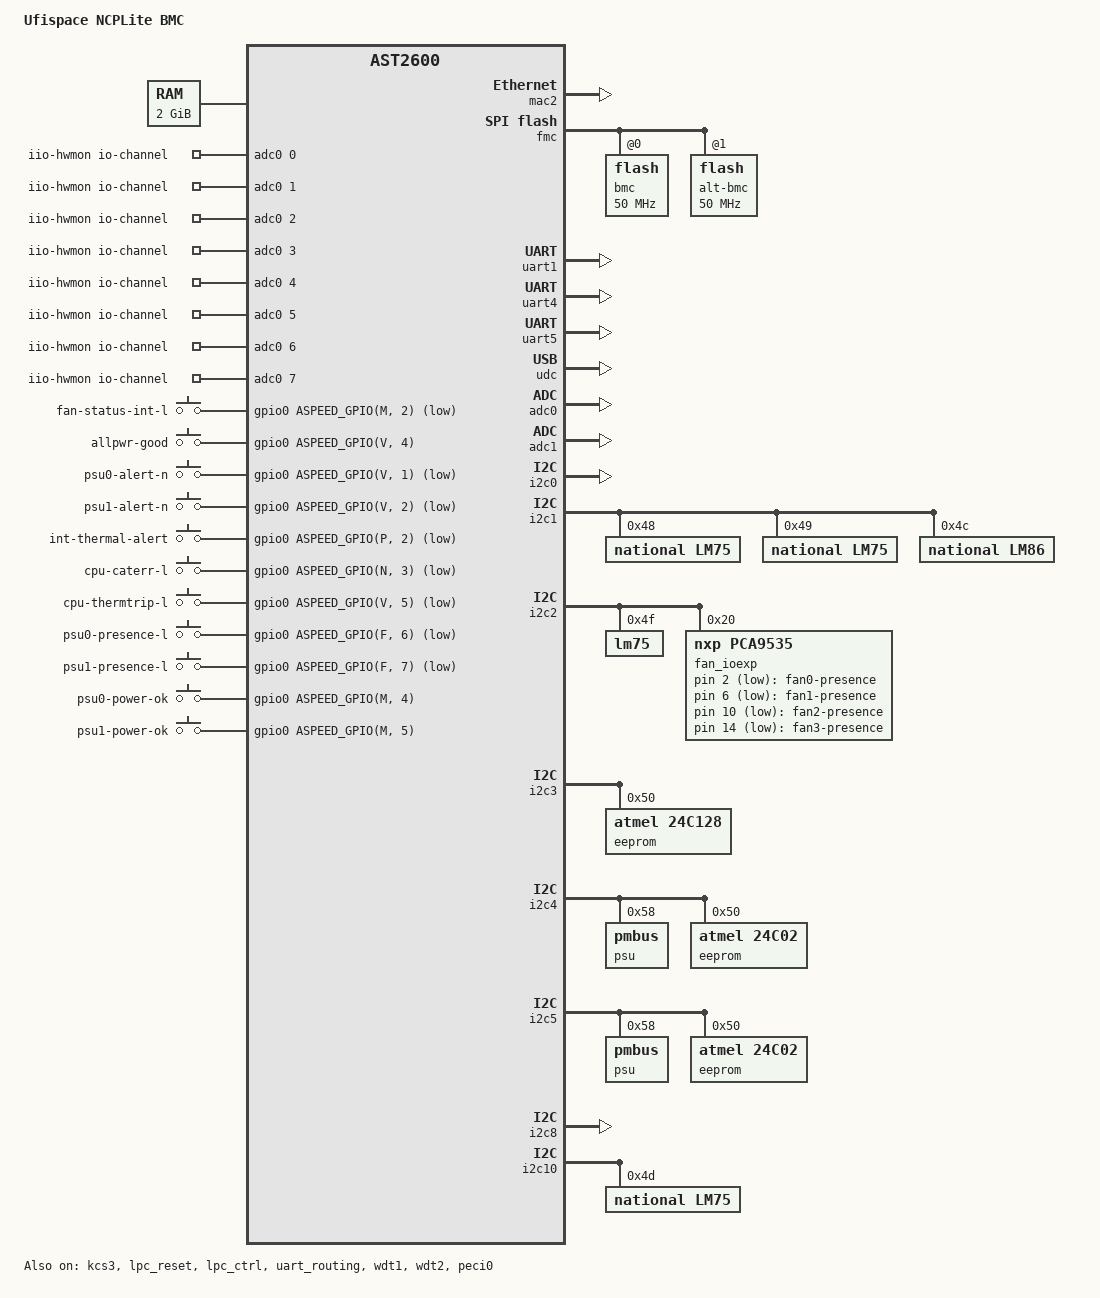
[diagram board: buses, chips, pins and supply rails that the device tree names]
// SPDX-License-Identifier: GPL-2.0-or-later
// Copyright (c) 2022 Ufispace Co., Ltd.
/dts-v1/;

#include "aspeed-g6.dtsi"
#include <dt-bindings/i2c/i2c.h>
#include <dt-bindings/gpio/aspeed-gpio.h>

/ {
	model = "Ufispace NCPLite BMC";
	compatible = "ufispace,ncplite-bmc", "aspeed,ast2600";

	aliases {
		serial4 = &uart5;
	};

	chosen {
		stdout-path = &uart5;
		bootargs = "console=ttyS4,115200n8 earlycon";
	};

	memory@80000000 {
		device_type = "memory";
		reg = <0x80000000 0x80000000>;
	};

	iio-hwmon {
		compatible = "iio-hwmon";
		io-channels = <&adc0 0>, <&adc0 1>, <&adc0 2>, <&adc0 3>,
			      <&adc0 4>, <&adc0 5>, <&adc0 6>, <&adc0 7>,
			      <&adc1 0>, <&adc1 1>, <&adc1 2>, <&adc1 3>,
			      <&adc1 4>, <&adc1 5>, <&adc1 6>, <&adc1 7>;
	};

	gpio-keys {
		compatible = "gpio-keys";

		fan-status-int-l {
			label = "fan-status-int-l";
			gpios = <&gpio0 ASPEED_GPIO(M, 2) GPIO_ACTIVE_LOW>;
			linux,code = <ASPEED_GPIO(M, 2)>;
		};

		allpwr-good {
			label = "allpwr-good";
			gpios = <&gpio0 ASPEED_GPIO(V, 4) GPIO_ACTIVE_HIGH>;
			linux,code = <ASPEED_GPIO(V, 4)>;
		};

		psu0-alert-n {
			label = "psu0-alert-n";
			gpios = <&gpio0 ASPEED_GPIO(V, 1) GPIO_ACTIVE_LOW>;
			linux,code = <ASPEED_GPIO(V, 1)>;
		};

		psu1-alert-n {
			label = "psu1-alert-n";
			gpios = <&gpio0 ASPEED_GPIO(V, 2) GPIO_ACTIVE_LOW>;
			linux,code = <ASPEED_GPIO(V, 2)>;
		};

		int-thermal-alert {
			label = "int-thermal-alert";
			gpios = <&gpio0 ASPEED_GPIO(P, 2) GPIO_ACTIVE_LOW>;
			linux,code = <ASPEED_GPIO(P, 2)>;
		};

		cpu-caterr-l {
			label = "cpu-caterr-l";
			gpios = <&gpio0 ASPEED_GPIO(N, 3) GPIO_ACTIVE_LOW>;
			linux,code = <ASPEED_GPIO(N, 3)>;
		};

		cpu-thermtrip-l {
			label = "cpu-thermtrip-l";
			gpios = <&gpio0 ASPEED_GPIO(V, 5) GPIO_ACTIVE_LOW>;
			linux,code = <ASPEED_GPIO(V, 5)>;
		};

		psu0-presence-l {
			label = "psu0-presence-l";
			gpios = <&gpio0 ASPEED_GPIO(F, 6) GPIO_ACTIVE_LOW>;
			linux,code = <ASPEED_GPIO(F, 6)>;
		};

		psu1-presence-l {
			label = "psu1-presence-l";
			gpios = <&gpio0 ASPEED_GPIO(F, 7) GPIO_ACTIVE_LOW>;
			linux,code = <ASPEED_GPIO(F, 7)>;
		};

		psu0-power-ok {
			label = "psu0-power-ok";
			gpios = <&gpio0 ASPEED_GPIO(M, 4) GPIO_ACTIVE_HIGH>;
			linux,code = <ASPEED_GPIO(M, 4)>;
		};

		psu1-power-ok {
			label = "psu1-power-ok";
			gpios = <&gpio0 ASPEED_GPIO(M, 5) GPIO_ACTIVE_HIGH>;
			linux,code = <ASPEED_GPIO(M, 5)>;
		};
	};

	gpio-keys-polled {
		compatible = "gpio-keys-polled";
		#address-cells = <1>;
		#size-cells = <0>;
		poll-interval = <1000>;

		fan0-presence {
			label = "fan0-presence";
			gpios = <&fan_ioexp 2 GPIO_ACTIVE_LOW>;
			linux,code = <2>;
		};

		fan1-presence {
			label = "fan1-presence";
			gpios = <&fan_ioexp 6 GPIO_ACTIVE_LOW>;
			linux,code = <6>;
		};

		fan2-presence {
			label = "fan2-presence";
			gpios = <&fan_ioexp 10 GPIO_ACTIVE_LOW>;
			linux,code = <10>;
		};

		fan3-presence {
			label = "fan3-presence";
			gpios = <&fan_ioexp 14 GPIO_ACTIVE_LOW>;
			linux,code = <14>;
		};
	};
};

&mac2 {
	status = "okay";
	use-ncsi;

	pinctrl-names = "default";
	pinctrl-0 = <&pinctrl_rmii3_default>;
	clocks = <&syscon ASPEED_CLK_GATE_MAC3CLK>,
		 <&syscon ASPEED_CLK_MAC3RCLK>;
	clock-names = "MACCLK", "RCLK";
};

&fmc {
	status = "okay";
	flash@0 {
		status = "okay";
		m25p,fast-read;
		label = "bmc";
		spi-max-frequency = <50000000>;
#include "openbmc-flash-layout-64.dtsi"
	};

	flash@1 {
		status = "okay";
		m25p,fast-read;
		label = "alt-bmc";
		spi-max-frequency = <50000000>;
#include "openbmc-flash-layout-64-alt.dtsi"
	};
};

&uart1 {
	status = "okay";
};

&uart4 {
	status = "okay";
};

&uart5 {
	status = "okay";
};

&kcs3 {
	status = "okay";
	aspeed,lpc-io-reg = <0xca2>;
};

&lpc_reset {
	status = "okay";
};

&lpc_ctrl {
	status = "okay";
};

&uart_routing {
	status = "okay";
};

&wdt1 {
	status = "okay";
};

&wdt2 {
	status = "okay";
};

&peci0 {
	status = "okay";
};

&udc {
	status = "okay";
};

&adc0 {
	vref = <2500>;
	status = "okay";

	pinctrl-names = "default";
	pinctrl-0 = <&pinctrl_adc0_default &pinctrl_adc1_default
		&pinctrl_adc2_default &pinctrl_adc3_default
		&pinctrl_adc4_default &pinctrl_adc5_default
		&pinctrl_adc6_default &pinctrl_adc7_default>;
};

&adc1 {
	vref = <2500>;
	status = "okay";

	pinctrl-names = "default";
	pinctrl-0 = <&pinctrl_adc8_default &pinctrl_adc9_default
		&pinctrl_adc10_default &pinctrl_adc11_default
		&pinctrl_adc12_default &pinctrl_adc13_default
		&pinctrl_adc14_default &pinctrl_adc15_default>;
};

&i2c0 {
	status = "okay";
};

&i2c1 {
	status = "okay";

	lm75@48 {
		compatible = "national,lm75";
		reg = <0x48>;
	};

	lm75@49 {
		compatible = "national,lm75";
		reg = <0x49>;
	};

	lm86@4c {
		compatible = "national,lm86";
		reg = <0x4c>;
	};
};

&i2c2 {
	status = "okay";

	lm75@4f {
		cpmpatible = "national,lm75";
		reg = <0x4f>;
	};

	fan_ioexp: pca9535@20 {
		compatible = "nxp,pca9535";
		reg = <0x20>;
		#address-cells = <1>;
		#size-cells = <0>;
		gpio-controller;
		#gpio-cells = <2>;

		gpio-line-names =
		"","","presence-fan0","",
		"","","presence-fan1","",
		"","","presence-fan2","",
		"","","presence-fan3","";
	};
};

&i2c3 {
	status = "okay";

	eeprom@50 {
		compatible = "atmel,24c128";
		reg = <0x50>;
		pagesize = <64>;
	};
};

&i2c4 {
	status = "okay";

	psu@58 {
		compatible = "pmbus";
		reg = <0x58>;
	};

	eeprom@50 {
		compatible = "atmel,24c02";
		reg = <0x50>;
		pagesize = <1>;
	};
};

&i2c5 {
	status = "okay";

	psu@58 {
		compatible = "pmbus";
		reg = <0x58>;
	};

	eeprom@50 {
		compatible = "atmel,24c02";
		reg = <0x50>;
		pagesize = <1>;
	};
};

&i2c8 {
	status = "okay";
};

&i2c10 {
	status = "okay";

	lm75@4d {
		compatible = "national,lm75";
		reg = <0x4d>;
	};
};

&gpio0 {
	status = "okay";

	gpio-line-names =
	/*A0-A7*/	"","","","","","","","",
	/*B0-B7*/	"","","","","","","","",
	/*C0-C7*/	"","","","","","","","",
	/*D0-D7*/	"","","","","","","","",
	/*E0-E7*/	"","","","","","","","",
	/*F0-F7*/	"CPU_PWRGD","","","power-button","host0-ready","","presence-ps0","presence-ps1",
	/*G0-G7*/	"","","","","","","","",
	/*H0-H7*/	"","","","","","","","",
	/*I0-I7*/	"","","","","","reset-button","","",
	/*J0-J7*/	"","","","","","","","",
	/*K0-K7*/	"","","","","","","","",
	/*L0-L7*/	"","","","","","","","",
	/*M0-M7*/	"","","","","","","","",
	/*N0-N7*/	"power-chassis-control0","power-chassis-control1","","","","","","",
	/*O0-O7*/	"","","","","","","","",
	/*P0-P7*/	"","","","","","","","",
	/*Q0-Q7*/	"","","","","","","","",
	/*R0-R7*/	"","","","","","","","",
	/*S0-S7*/	"","","","","","","","",
	/*T0-T7*/	"","","","","","","","",
	/*U0-U7*/	"","","","","","","","",
	/*V0-V7*/	"","","","","power-chassis-good","","","";
};
